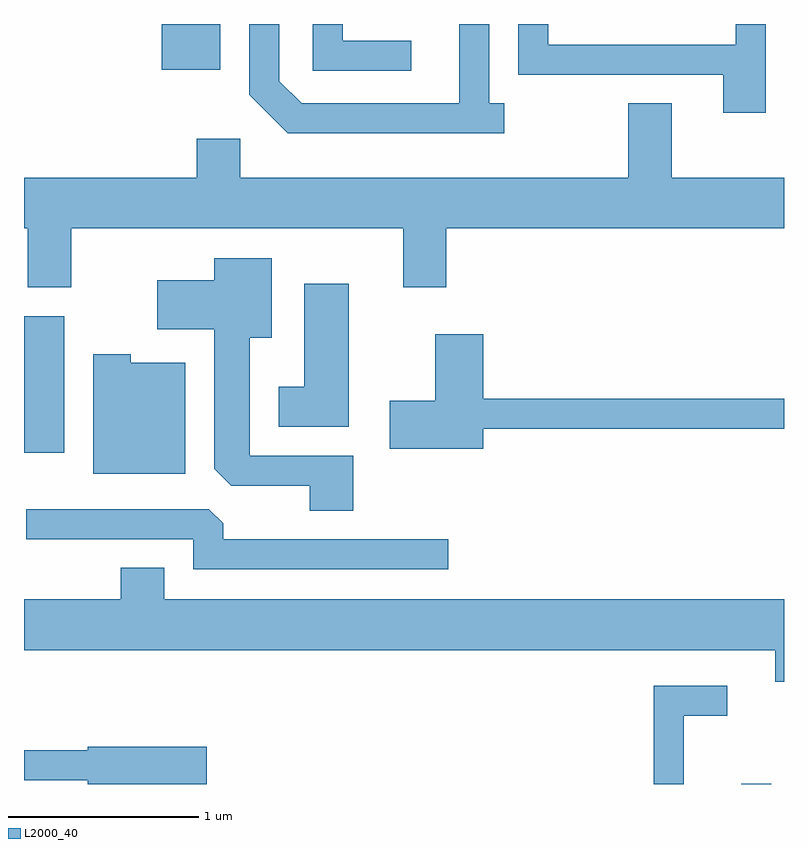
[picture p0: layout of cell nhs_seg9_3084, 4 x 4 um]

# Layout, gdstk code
import gdstk
lib = gdstk.Library(unit=1e-6, precision=1e-09)
def R(c, l, rs):  # rectangles x0, y0, x1, y1
    for r in rs: c.add(gdstk.rectangle(r[:2], r[2:], *l))
def P(c, l, *ps):  # polygons
    for p in ps: c.add(gdstk.Polygon(p, *l))
L2000_40 = (2000, 40)

nhs_seg9_3084 = lib.new_cell('nhs_seg9_3084')
R(nhs_seg9_3084, L2000_40, [(279.386,2004.432,279.544,2004.433), (275.611,2006.176,275.824,2006.894), (276.336,2008.191,276.644,2008.432)])
P(nhs_seg9_3084, L2000_40, [(277.648,2008.344),(277.289,2008.344),(277.289,2008.432),(277.131,2008.432),(277.131,2008.186),(277.648,2008.186)],
  [(278.138,2008.014),(278.059,2008.014),(278.059,2008.432),(277.901,2008.432),(277.901,2008.014),(277.072,2008.014),(276.954,2008.132),(276.954,2008.432),(276.796,2008.432),(276.796,2008.059),(276.999,2007.856),(278.138,2007.856)],
  [(279.514,2008.432),(279.356,2008.432),(279.356,2008.324),(278.369,2008.324),(278.369,2008.432),(278.211,2008.432),(278.211,2008.166),(279.291,2008.166),(279.291,2007.966),(279.514,2007.966)],
  [(275.859,2007.356),(277.606,2007.356),(277.606,2007.046),(277.834,2007.046),(277.834,2007.356),(279.611,2007.356),(279.611,2007.624),(279.019,2007.624),(279.019,2008.014),(278.791,2008.014),(278.791,2007.624),(276.749,2007.624),(276.749,2007.829),(276.521,2007.829),(276.521,2007.624),(275.611,2007.624),(275.611,2007.356),(275.631,2007.356),(275.631,2007.046),(275.859,2007.046)],
  [(277.344,2006.159),(276.799,2006.159),(276.799,2006.781),(276.914,2006.781),(276.914,2007.199),(276.611,2007.199),(276.611,2007.084),(276.311,2007.084),(276.311,2006.826),(276.611,2006.826),(276.611,2006.092),(276.702,2006.001),(277.116,2006.001),(277.116,2005.871),(277.344,2005.871)],
  [(277.319,2007.064),(277.086,2007.064),(277.086,2006.524),(276.951,2006.524),(276.951,2006.311),(277.319,2006.311)],
  [(278.029,2006.301),(279.611,2006.301),(279.611,2006.459),(278.029,2006.459),(278.029,2006.799),(277.776,2006.799),(277.776,2006.449),(277.536,2006.449),(277.536,2006.196),(278.029,2006.196)],
  [(276.459,2006.649),(276.174,2006.649),(276.174,2006.694),(275.976,2006.694),(275.976,2006.066),(276.459,2006.066)],
  [(277.843,2005.719),(276.659,2005.719),(276.659,2005.804),(276.584,2005.879),(275.623,2005.879),(275.623,2005.721),(276.501,2005.721),(276.501,2005.561),(277.843,2005.561)],
  [(279.611,2005.404),(276.349,2005.404),(276.349,2005.569),(276.121,2005.569),(276.121,2005.404),(275.611,2005.404),(275.611,2005.136),(279.566,2005.136),(279.566,2004.971),(279.611,2004.971)],
  [(279.084,2004.791),(279.313,2004.791),(279.313,2004.949),(278.926,2004.949),(278.926,2004.432),(279.084,2004.432)],
  [(276.574,2004.629),(275.946,2004.629),(275.946,2004.609),(275.611,2004.609),(275.611,2004.451),(275.946,2004.451),(275.946,2004.432),(276.574,2004.432)])

lib.write_gds('nhs_seg9_3084.gds')
